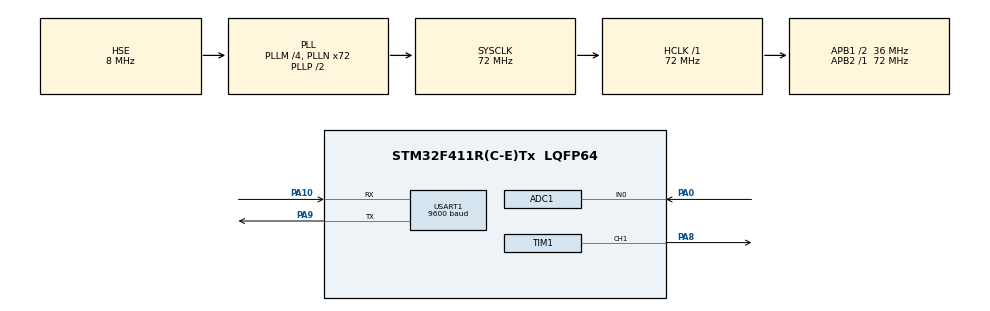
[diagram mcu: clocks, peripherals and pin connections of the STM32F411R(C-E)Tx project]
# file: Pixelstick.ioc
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Mcu.Family=STM32F4
RCC.PLLSourceVirtual=RCC_PLLSOURCE_HSE
RCC.CortexFreq_Value=72000000
PA10.Mode=Asynchronous
ADC1.ContinuousConvMode=ENABLE
USART1.BaudRate=9600
PA14.GPIO_Label=TCK
PH1\ -\ OSC_OUT.Mode=HSE-External-Oscillator
Dma.TIM1_CH1.0.MemDataAlignment=DMA_MDATAALIGN_HALFWORD
Dma.TIM1_CH1.0.FIFOMode=DMA_FIFOMODE_DISABLE
NVIC.DMA2_Stream1_IRQn=true\:0\:0\:true\:false\:true\:false\:true
RCC.APB1CLKDivider=RCC_HCLK_DIV2
PC14-OSC32_IN.Signal=RCC_OSC32_IN
Dma.TIM1_CH1.0.PeriphDataAlignment=DMA_PDATAALIGN_HALFWORD
Dma.TIM1_CH1.0.Priority=DMA_PRIORITY_LOW
RCC.SYSCLKSource=RCC_SYSCLKSOURCE_PLLCLK
ProjectManager.StackSize=0x400
PA0-WKUP.Signal=ADCx_IN0
Dma.TIM1_CH1.0.PeriphInc=DMA_PINC_DISABLE
Dma.TIM1_CH1.0.MemInc=DMA_MINC_ENABLE
PA13.Signal=SYS_JTMS-SWDIO
PA9.Mode=Asynchronous
PH0\ -\ OSC_IN.Mode=HSE-External-Oscillator
Dma.TIM1_CH1.0.Mode=DMA_NORMAL
SH.S_TIM1_CH1.0=TIM1_CH1,PWM Generation1 CH1
PH0\ -\ OSC_IN.Signal=RCC_OSC_IN
ProjectManager.TargetToolchain=STM32CubeIDE
RCC.HCLKFreq_Value=72000000
ADC1.Resolution=ADC_RESOLUTION_8B
RCC.APB2TimFreq_Value=72000000
PA9.Signal=USART1_TX
ADC1.Channel-1\#ChannelRegularConversion=ADC_CHANNEL_0
RCC.LSE_VALUE=32768
PC15-OSC32_OUT.Signal=RCC_OSC32_OUT
RCC.AHBFreq_Value=72000000
RCC.HSE_VALUE=8000000
PH1\ -\ OSC_OUT.Signal=RCC_OSC_OUT
board=NUCLEO-F411RE
RCC.VCOOutputFreq_Value=144000000
RCC.APB2Freq_Value=72000000
TIM1.Channel-PWM\ Generation1\ CH1=TIM_CHANNEL_1
PA8.Signal=S_TIM1_CH1
SH.ADCx_IN0.0=ADC1_IN0,IN0
Mcu.Name=STM32F411R(C-E)Tx
VP_TIM1_VS_ClockSourceINT.Mode=Internal
PA2.Signal=USART2_TX
PA13.GPIO_Label=TMS
RCC.FLatency-AdvancedSettings=FLASH_LATENCY_2
Dma.TIM1_CH1.0.Direction=DMA_MEMORY_TO_PERIPH
RCC.48MHZClocksFreq_Value=36000000
PB3.Signal=SYS_JTDO-SWO
ADC1.SamplingTime-1\#ChannelRegularConversion=ADC_SAMPLETIME_480CYCLES
RCC.SYSCLKFreq_VALUE=72000000
Mcu.Package=LQFP64
Dma.TIM1_CH1.0.Instance=DMA2_Stream1
ADC1.master=1
USART1.VirtualMode=VM_ASYNC
ADC1.Rank-1\#ChannelRegularConversion=1
PA2.GPIO_Label=USART_TX
PA14.Signal=SYS_JTCK-SWCLK
PA10.Signal=USART1_RX
ProjectManager.HeapSize=0x200
RCC.HSI_VALUE=16000000
NVIC.PriorityGroup=NVIC_PRIORITYGROUP_2
ADC1.NbrOfConversionFlag=1
RCC.PLLM=4
RCC.PLLN=72
RCC.APB1TimFreq_Value=72000000
TIM1.Period=90-1
NVIC.USART1_IRQn=true\:1\:0\:true\:false\:true\:true\:true
Dma.Request0=TIM1_CH1
RCC.APB1Freq_Value=36000000
PA3.GPIO_Label=USART_RX
PA3.Signal=USART2_RX
PB3.GPIO_Label=SWO

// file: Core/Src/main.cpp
/* USER CODE BEGIN Header */
/**
  ******************************************************************************
  * @file           : main.c
  * @brief          : Main program body
  ******************************************************************************
  * @attention
  *
  * <h2><center>&copy; Copyright (c) 2021 STMicroelectronics.
  * All rights reserved.</center></h2>
  *
  * This software component is licensed by ST under BSD 3-Clause license,
  * the "License"; You may not use this file except in compliance with the
  * License. You may obtain a copy of the License at:
  *                        opensource.org/licenses/BSD-3-Clause
  *
  ******************************************************************************
  */
/* USER CODE END Header */
#include "main.h"

/* USER CODE BEGIN Includes */
#include "led_strip.h"
/* USER CODE END Includes */

ADC_HandleTypeDef hadc1;

TIM_HandleTypeDef htim1;
DMA_HandleTypeDef hdma_tim1_ch1;

UART_HandleTypeDef huart1;

/* USER CODE BEGIN PV */
LEDStrip *my_strip;
uint8_t rx_data[6];
uint8_t ldr_data = 0;
bool auto_brightness = false;
bool sent_flag = false;
/* USER CODE END PV */

void SystemClock_Config(void);
static void MX_GPIO_Init(void);
static void MX_DMA_Init(void);
static void MX_TIM1_Init(void);
static void MX_ADC1_Init(void);
static void MX_USART1_UART_Init(void);

/* USER CODE BEGIN 0 */
void init_nextion()
{
	uint8_t main_screen[9] = {0x70, 0x61, 0x67, 0x65, 0x20, 0x30, 0xff, 0xff, 0xff};
	uint8_t bright_slider[24] = {0x62, 0x72, 0x69, 0x67, 0x68, 0x74, 0x5F, 0x73, 0x6C, 0x69, 0x64, 0x65, 0x72, 0x2E, 0x76, 0x61, 0x6C, 0x3D, 0x31, 0x32, 0x37, 0xff, 0xff, 0xff};
	uint8_t bright[17] = {0x62, 0x72, 0x69, 0x67, 0x68, 0x74, 0x2E, 0x76, 0x61, 0x6C, 0x3D, 0x31, 0x32, 0x37, 0xff, 0xff, 0xff};
	uint8_t red_slider[28] = {0x73, 0x69, 0x6E, 0x67, 0x6C, 0x65, 0x2E, 0x72, 0x65, 0x64, 0x5F, 0x73, 0x6C, 0x69, 0x64, 0x65, 0x72, 0x2E, 0x76, 0x61, 0x6C, 0x3D, 0x31, 0x32, 0x37, 0xff, 0xff, 0xff};
	uint8_t red[21] = {0x73, 0x69, 0x6E, 0x67, 0x6C, 0x65, 0x2E, 0x72, 0x65, 0x64, 0x2E, 0x76, 0x61, 0x6C, 0x3D, 0x31, 0x32, 0x37, 0xff, 0xff, 0xff};
	uint8_t green_slider[30] = {0x73, 0x69, 0x6E, 0x67, 0x6C, 0x65, 0x2E, 0x67, 0x72, 0x65, 0x65, 0x6E, 0x5F, 0x73, 0x6C, 0x69, 0x64, 0x65, 0x72, 0x2E, 0x76, 0x61, 0x6C, 0x3D, 0x31, 0x32, 0x37, 0xff, 0xff, 0xff};
	uint8_t green[23]= {0x73, 0x69, 0x6E, 0x67, 0x6C, 0x65, 0x2E, 0x67, 0x72, 0x65, 0x65, 0x6E, 0x2E, 0x76, 0x61, 0x6C, 0x3D, 0x31, 0x32, 0x37, 0xff, 0xff, 0xff};
	uint8_t blue_slider[29] = {0x73, 0x69, 0x6E, 0x67, 0x6C, 0x65, 0x2E, 0x62, 0x6C, 0x75, 0x65, 0x5F, 0x73, 0x6C, 0x69, 0x64, 0x65, 0x72, 0x2E, 0x76, 0x61, 0x6C, 0x3D, 0x31, 0x32, 0x37, 0xff, 0xff, 0xff};
	uint8_t blue[22] = {0x73, 0x69, 0x6E, 0x67, 0x6C, 0x65, 0x2E, 0x62, 0x6C, 0x75, 0x65, 0x2E, 0x76, 0x61, 0x6C, 0x3D, 0x31, 0x32, 0x37, 0xff, 0xff, 0xff};

	HAL_UART_Transmit(&huart1, main_screen, 9, 100);
	HAL_UART_Transmit(&huart1, bright_slider, 24, 100);
	HAL_UART_Transmit(&huart1, bright, 17, 100);
	HAL_UART_Transmit(&huart1, red_slider, 28, 100);
	HAL_UART_Transmit(&huart1, red, 21, 100);
	HAL_UART_Transmit(&huart1, green_slider, 30, 100);
	HAL_UART_Transmit(&huart1, green, 23, 100);
	HAL_UART_Transmit(&huart1, blue_slider, 29, 100);
	HAL_UART_Transmit(&huart1, blue, 22, 100);
}

void HAL_TIM_PWM_PulseFinishedCallback(TIM_HandleTypeDef *htim)
{
	HAL_TIM_PWM_Stop_DMA(&htim1, TIM_CHANNEL_1);
	sent_flag = true;
}

void HAL_UART_RxCpltCallback(UART_HandleTypeDef *huart)
{
	if (rx_data[1] == 1) // Brightness
	{
		if (rx_data[2] == 0) // Manual
		{
			auto_brightness = false;

			my_strip->set_brightness(rx_data[3]);
			my_strip->update();
		}
		else if (rx_data[2] == 1) // Auto
		{
			if (rx_data[3] == 0) // Off
			{
				auto_brightness = false;

				my_strip->set_brightness(rx_data[4]);
				my_strip->update();

				ldr_data = 0;
			}
			else if (rx_data[3] == 1) // On
			{
				auto_brightness = true;
			}
		}
	}
	else if (rx_data[1] == 2) // Single color set
	{
		my_strip->set_single_color(rx_data[2], rx_data[3], rx_data[4]);
		my_strip->update();
	}
	else if (rx_data[1] == 3) // Set palette
	{
		my_strip->set_palette(rx_data[2]);
		my_strip->update();
	}
	else if (rx_data[1] == 4) // Set palette
	{
		my_strip->set_image();
	}
	else
	{
		// Just ignore
	}

	HAL_UART_Receive_IT(huart, rx_data, 6);
}
/* USER CODE END 0 */

int main(void)
{

  /* MCU Configuration--------------------------------------------------------*/

  /* Reset of all peripherals, Initializes the Flash interface and the Systick. */
  HAL_Init();

  /* Configure the system clock */
  SystemClock_Config();

  /* Initialize all configured peripherals */
  MX_GPIO_Init();
  MX_DMA_Init();
  MX_TIM1_Init();
  MX_ADC1_Init();
  MX_USART1_UART_Init();
  /* USER CODE BEGIN 2 */
  init_nextion();

  LEDStrip strip(60, &sent_flag, &htim1, TIM_CHANNEL_1);
  my_strip = &strip;
  uint8_t temp;

  HAL_UART_Receive_IT(&huart1, rx_data, 6);
  /* USER CODE END 2 */

  /* Infinite loop */
  while (1)
  {
	  if (auto_brightness)
	  {
		  HAL_ADC_Start(&hadc1);
		  HAL_ADC_PollForConversion(&hadc1, 1000);

		  if (auto_brightness)
		  {
			  temp = HAL_ADC_GetValue(&hadc1);

			  if ((temp - ldr_data > 8) || (ldr_data - temp > 8) || ldr_data == 0)
			  {
				  ldr_data = temp;

				  if (ldr_data > 248)
				  {
					  ldr_data = 248;
				  }

				  my_strip->set_brightness(255 - ldr_data);
				  my_strip->update();
			  }
		  }
		  HAL_ADC_Stop(&hadc1);
	  }
  }
}

void SystemClock_Config(void)
{
  RCC_OscInitTypeDef RCC_OscInitStruct = {0};
  RCC_ClkInitTypeDef RCC_ClkInitStruct = {0};

  /** Configure the main internal regulator output voltage
  */
  __HAL_RCC_PWR_CLK_ENABLE();
  __HAL_PWR_VOLTAGESCALING_CONFIG(PWR_REGULATOR_VOLTAGE_SCALE1);
  /** Initializes the RCC Oscillators according to the specified parameters
  * in the RCC_OscInitTypeDef structure.
  */
  RCC_OscInitStruct.OscillatorType = RCC_OSCILLATORTYPE_HSE;
  RCC_OscInitStruct.HSEState = RCC_HSE_ON;
  RCC_OscInitStruct.PLL.PLLState = RCC_PLL_ON;
  RCC_OscInitStruct.PLL.PLLSource = RCC_PLLSOURCE_HSE;
  RCC_OscInitStruct.PLL.PLLM = 4;
  RCC_OscInitStruct.PLL.PLLN = 72;
  RCC_OscInitStruct.PLL.PLLP = RCC_PLLP_DIV2;
  RCC_OscInitStruct.PLL.PLLQ = 4;
  if (HAL_RCC_OscConfig(&RCC_OscInitStruct) != HAL_OK)
  {
    Error_Handler();
  }
  /** Initializes the CPU, AHB and APB buses clocks
  */
  RCC_ClkInitStruct.ClockType = RCC_CLOCKTYPE_HCLK|RCC_CLOCKTYPE_SYSCLK
                              |RCC_CLOCKTYPE_PCLK1|RCC_CLOCKTYPE_PCLK2;
  RCC_ClkInitStruct.SYSCLKSource = RCC_SYSCLKSOURCE_PLLCLK;
  RCC_ClkInitStruct.AHBCLKDivider = RCC_SYSCLK_DIV1;
  RCC_ClkInitStruct.APB1CLKDivider = RCC_HCLK_DIV2;
  RCC_ClkInitStruct.APB2CLKDivider = RCC_HCLK_DIV1;

  if (HAL_RCC_ClockConfig(&RCC_ClkInitStruct, FLASH_LATENCY_2) != HAL_OK)
  {
    Error_Handler();
  }
}

static void MX_ADC1_Init(void)
{

  ADC_ChannelConfTypeDef sConfig = {0};

  /** Configure the global features of the ADC (Clock, Resolution, Data Alignment and number of conversion)
  */
  hadc1.Instance = ADC1;
  hadc1.Init.ClockPrescaler = ADC_CLOCK_SYNC_PCLK_DIV2;
  hadc1.Init.Resolution = ADC_RESOLUTION_8B;
  hadc1.Init.ScanConvMode = DISABLE;
  hadc1.Init.ContinuousConvMode = DISABLE;
  hadc1.Init.DiscontinuousConvMode = DISABLE;
  hadc1.Init.ExternalTrigConvEdge = ADC_EXTERNALTRIGCONVEDGE_NONE;
  hadc1.Init.ExternalTrigConv = ADC_SOFTWARE_START;
  hadc1.Init.DataAlign = ADC_DATAALIGN_RIGHT;
  hadc1.Init.NbrOfConversion = 1;
  hadc1.Init.DMAContinuousRequests = DISABLE;
  hadc1.Init.EOCSelection = ADC_EOC_SINGLE_CONV;
  if (HAL_ADC_Init(&hadc1) != HAL_OK)
  {
    Error_Handler();
  }
  /** Configure for the selected ADC regular channel its corresponding rank in the sequencer and its sample time.
  */
  sConfig.Channel = ADC_CHANNEL_0;
  sConfig.Rank = 1;
  sConfig.SamplingTime = ADC_SAMPLETIME_480CYCLES;
  if (HAL_ADC_ConfigChannel(&hadc1, &sConfig) != HAL_OK)
  {
    Error_Handler();
  }

}

static void MX_TIM1_Init(void)
{

  TIM_ClockConfigTypeDef sClockSourceConfig = {0};
  TIM_MasterConfigTypeDef sMasterConfig = {0};
  TIM_OC_InitTypeDef sConfigOC = {0};
  TIM_BreakDeadTimeConfigTypeDef sBreakDeadTimeConfig = {0};

  htim1.Instance = TIM1;
  htim1.Init.Prescaler = 0;
  htim1.Init.CounterMode = TIM_COUNTERMODE_UP;
  htim1.Init.Period = 90-1;
  htim1.Init.ClockDivision = TIM_CLOCKDIVISION_DIV1;
  htim1.Init.RepetitionCounter = 0;
  htim1.Init.AutoReloadPreload = TIM_AUTORELOAD_PRELOAD_DISABLE;
  if (HAL_TIM_Base_Init(&htim1) != HAL_OK)
  {
    Error_Handler();
  }
  sClockSourceConfig.ClockSource = TIM_CLOCKSOURCE_INTERNAL;
  if (HAL_TIM_ConfigClockSource(&htim1, &sClockSourceConfig) != HAL_OK)
  {
    Error_Handler();
  }
  if (HAL_TIM_PWM_Init(&htim1) != HAL_OK)
  {
    Error_Handler();
  }
  sMasterConfig.MasterOutputTrigger = TIM_TRGO_RESET;
  sMasterConfig.MasterSlaveMode = TIM_MASTERSLAVEMODE_DISABLE;
  if (HAL_TIMEx_MasterConfigSynchronization(&htim1, &sMasterConfig) != HAL_OK)
  {
    Error_Handler();
  }
  sConfigOC.OCMode = TIM_OCMODE_PWM1;
  sConfigOC.Pulse = 0;
  sConfigOC.OCPolarity = TIM_OCPOLARITY_HIGH;
  sConfigOC.OCNPolarity = TIM_OCNPOLARITY_HIGH;
  sConfigOC.OCFastMode = TIM_OCFAST_DISABLE;
  sConfigOC.OCIdleState = TIM_OCIDLESTATE_RESET;
  sConfigOC.OCNIdleState = TIM_OCNIDLESTATE_RESET;
  if (HAL_TIM_PWM_ConfigChannel(&htim1, &sConfigOC, TIM_CHANNEL_1) != HAL_OK)
  {
    Error_Handler();
  }
  sBreakDeadTimeConfig.OffStateRunMode = TIM_OSSR_DISABLE;
  sBreakDeadTimeConfig.OffStateIDLEMode = TIM_OSSI_DISABLE;
  sBreakDeadTimeConfig.LockLevel = TIM_LOCKLEVEL_OFF;
  sBreakDeadTimeConfig.DeadTime = 0;
  sBreakDeadTimeConfig.BreakState = TIM_BREAK_DISABLE;
  sBreakDeadTimeConfig.BreakPolarity = TIM_BREAKPOLARITY_HIGH;
  sBreakDeadTimeConfig.AutomaticOutput = TIM_AUTOMATICOUTPUT_DISABLE;
  if (HAL_TIMEx_ConfigBreakDeadTime(&htim1, &sBreakDeadTimeConfig) != HAL_OK)
  {
    Error_Handler();
  }
  HAL_TIM_MspPostInit(&htim1);

}

static void MX_USART1_UART_Init(void)
{

  huart1.Instance = USART1;
  huart1.Init.BaudRate = 9600;
  huart1.Init.WordLength = UART_WORDLENGTH_8B;
  huart1.Init.StopBits = UART_STOPBITS_1;
  huart1.Init.Parity = UART_PARITY_NONE;
  huart1.Init.Mode = UART_MODE_TX_RX;
  huart1.Init.HwFlowCtl = UART_HWCONTROL_NONE;
  huart1.Init.OverSampling = UART_OVERSAMPLING_16;
  if (HAL_UART_Init(&huart1) != HAL_OK)
  {
    Error_Handler();
  }

}

static void MX_DMA_Init(void)
{

  /* DMA controller clock enable */
  __HAL_RCC_DMA2_CLK_ENABLE();

  /* DMA interrupt init */
  /* DMA2_Stream1_IRQn interrupt configuration */
  HAL_NVIC_SetPriority(DMA2_Stream1_IRQn, 0, 0);
  HAL_NVIC_EnableIRQ(DMA2_Stream1_IRQn);

}

static void MX_GPIO_Init(void)
{
  GPIO_InitTypeDef GPIO_InitStruct = {0};

  /* GPIO Ports Clock Enable */
  __HAL_RCC_GPIOC_CLK_ENABLE();
  __HAL_RCC_GPIOH_CLK_ENABLE();
  __HAL_RCC_GPIOA_CLK_ENABLE();
  __HAL_RCC_GPIOB_CLK_ENABLE();

  /*Configure GPIO pins : USART_TX_Pin USART_RX_Pin */
  GPIO_InitStruct.Pin = USART_TX_Pin|USART_RX_Pin;
  GPIO_InitStruct.Mode = GPIO_MODE_AF_PP;
  GPIO_InitStruct.Pull = GPIO_NOPULL;
  GPIO_InitStruct.Speed = GPIO_SPEED_FREQ_VERY_HIGH;
  GPIO_InitStruct.Alternate = GPIO_AF7_USART2;
  HAL_GPIO_Init(GPIOA, &GPIO_InitStruct);

}

void Error_Handler(void)
{
  __disable_irq();
  while (1)
  {
  }
}

/************************ (C) COPYRIGHT STMicroelectronics *****END OF FILE****/
